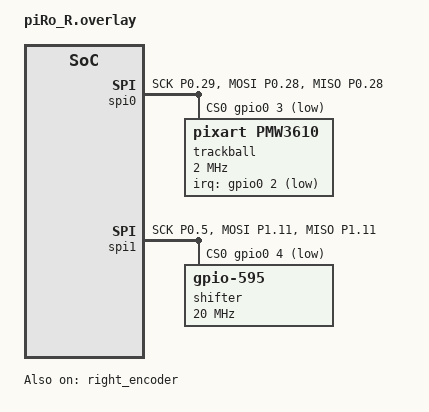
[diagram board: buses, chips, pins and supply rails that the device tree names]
#include "piRo.dtsi"

&default_transform {
    col-offset = <6>;
};

&kscan0 {
        col-gpios
            = <&shifter 1 GPIO_ACTIVE_HIGH>
            , <&shifter 2 GPIO_ACTIVE_HIGH> 
            , <&shifter 3 GPIO_ACTIVE_HIGH> 
            , <&shifter 4 GPIO_ACTIVE_HIGH> 
            , <&shifter 5 GPIO_ACTIVE_HIGH>
            , <&shifter 6 GPIO_ACTIVE_HIGH>
            ;
};

&right_encoder {
    status = "okay";
};

/ {
    trackball_listener {
        compatible = "zmk,input-listener";
        device = <&trackball>;

    };
};

&xiao_serial { status = "disabled"; };

&pinctrl {
    /* SPI0設定（従来通りtrackball用） */
    spi0_default: spi0_default {
        group1 {
            psels = <NRF_PSEL(SPIM_SCK, 0, 29)>,  // P0.29 D3
                <NRF_PSEL(SPIM_MOSI, 0, 28)>,     // P0.28 D2
                <NRF_PSEL(SPIM_MISO, 0, 28)>;     // P0.28 D2
        };
    };

    spi0_sleep: spi0_sleep {
        group1 {
            psels = <NRF_PSEL(SPIM_SCK, 0, 29)>,
                <NRF_PSEL(SPIM_MOSI, 0, 28)>,
                <NRF_PSEL(SPIM_MISO, 0, 28)>;
            low-power-enable;
        };
    };

    /* 追加: SPI1用ピン設定（shifter用） */
    spi1_default: spi1_default {
        group1 {
            psels = <NRF_PSEL(SPIM_SCK, 0, 5)>,   // P0.05 D5
                    <NRF_PSEL(SPIM_MOSI, 1, 11)>, // P1.11 D6
                    <NRF_PSEL(SPIM_MISO, 1, 11)>; // P1.11 D6
        };
    };

    spi1_sleep: spi1_sleep {
        group1 {
            psels = <NRF_PSEL(SPIM_SCK, 0, 5)>,
                    <NRF_PSEL(SPIM_MOSI, 1, 11)>,
                    <NRF_PSEL(SPIM_MISO, 1, 11)>;
            low-power-enable;
        };
    };
};

&spi0 {
    status = "okay";
    compatible = "nordic,nrf-spim";
    pinctrl-0 = <&spi0_default>;
    pinctrl-1 = <&spi0_sleep>;
    pinctrl-names = "default", "sleep";

    /* trackball */
    cs-gpios = <&gpio0 3 GPIO_ACTIVE_LOW>;  // P0.03 D1

    trackball: trackball@0 {
        compatible = "pixart,pmw3610";
        status = "okay";
        reg = <0>;
        spi-max-frequency = <2000000>;
        irq-gpios = <&gpio0 2 (GPIO_ACTIVE_LOW | GPIO_PULL_UP)>; // P0.02 D0
        scroll-layers = <3>;
        automouse-layer = <6>;
        snipe-layers = <2>;
    };
};

&spi1 {
    status = "okay";
    compatible = "nordic,nrf-spim";
    pinctrl-0 = <&spi1_default>;
    pinctrl-1 = <&spi1_sleep>;
    pinctrl-names = "default", "sleep";

    /* 74HC595用CSピンを設定 */
    cs-gpios = <&gpio0 4 GPIO_ACTIVE_LOW>;  // P0.04 D4

    shifter: reg@0 {
        compatible = "zmk,gpio-595";
        status = "okay";
        reg = <0>;
        spi-max-frequency = <20000000>;
        gpio-controller;
        #gpio-cells = <2>;
        ngpios = <8>;
    };
};
